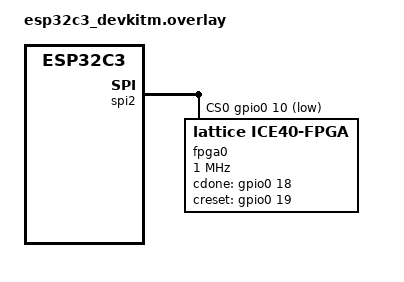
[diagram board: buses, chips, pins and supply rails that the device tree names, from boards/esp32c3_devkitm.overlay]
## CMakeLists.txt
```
# SPDX-License-Identifier: Apache-2.0

cmake_minimum_required(VERSION 3.20.0)

find_package(Zephyr REQUIRED HINTS $ENV{ZEPHYR_BASE})
project(fpga_ice40)

FILE(GLOB app_sources src/*.c)
target_sources(app PRIVATE ${app_sources})
```

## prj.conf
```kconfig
CONFIG_ZTEST=y
CONFIG_ZTEST_NEW_API=y
CONFIG_ZTEST_STACK_SIZE=4096

CONFIG_SPI=y
CONFIG_FPGA=y
CONFIG_PINCTRL=y
CONFIG_ICE40_FPGA=y
```

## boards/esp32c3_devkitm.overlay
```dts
&spi2 {
	cs-gpios = <&gpio0 10 (GPIO_PULL_UP | GPIO_OPEN_DRAIN | GPIO_ACTIVE_LOW)>;

	fpga0: fpga@0 {
		status = "okay";
		compatible = "lattice,ice40-fpga";

		reg = <0>;
		spi-max-frequency = <1000000>;

		cdone-gpios = <&gpio0 18 0>;
		creset-gpios = <&gpio0 19 GPIO_OPEN_DRAIN>;
		config-delay-us = <2000>;
		creset-delay-ns = <200>;
		additional-clocks = <160>;
	};
};
```

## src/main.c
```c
#include "bitstream.h"

#include <zephyr/device.h>
#include <zephyr/drivers/fpga.h>
#include <zephyr/drivers/gpio.h>
#include <zephyr/ztest.h>

#include <stdalign.h>

struct fpga_ice40_fixture {
	const struct device *fpga;
};

ZTEST_F(fpga_ice40, test_get_status)
{
	zassert_equal(FPGA_STATUS_INACTIVE, fpga_get_status(fixture->fpga), NULL);
	/* testing FPGA_STATUS_INACTIVE requires fpga_load(), see below */
}

ZTEST_F(fpga_ice40, test_reset)
{
	zassert_ok(fpga_reset(fixture->fpga), NULL);
}

ZTEST_F(fpga_ice40, test_load)
{
	/* BUILD_ASSERT(alignof(bitstream) == alignof(uint32_t)); */
	zassert_ok(fpga_load(fixture->fpga, (uint32_t *)bitstream, sizeof(bitstream)), NULL);
	zassert_equal(FPGA_STATUS_ACTIVE, fpga_get_status(fixture->fpga), NULL);
}

ZTEST_F(fpga_ice40, test_on)
{
	zassert_ok(fpga_on(fixture->fpga), NULL);
}

ZTEST_F(fpga_ice40, test_off)
{
	zassert_ok(fpga_off(fixture->fpga), NULL);
}

ZTEST_F(fpga_ice40, test_get_info)
{
	zassert_not_null(fpga_get_info(fixture->fpga), NULL);
}

static void *fpga_ice40_setup(void)
{
	static struct fpga_ice40_fixture fixture;

	fixture.fpga = DEVICE_DT_GET(DT_NODELABEL(fpga0));

	return &fixture;
}

static void fpga_ice40_before(void *arg)
{
	struct fpga_ice40_fixture *fixture = (struct fpga_ice40_fixture *)arg;

	zassert_true(device_is_ready(fixture->fpga), NULL);
	zassert_ok(fpga_reset(fixture->fpga), NULL);
}

ZTEST_SUITE(fpga_ice40, NULL, fpga_ice40_setup, fpga_ice40_before, NULL, NULL);
```
